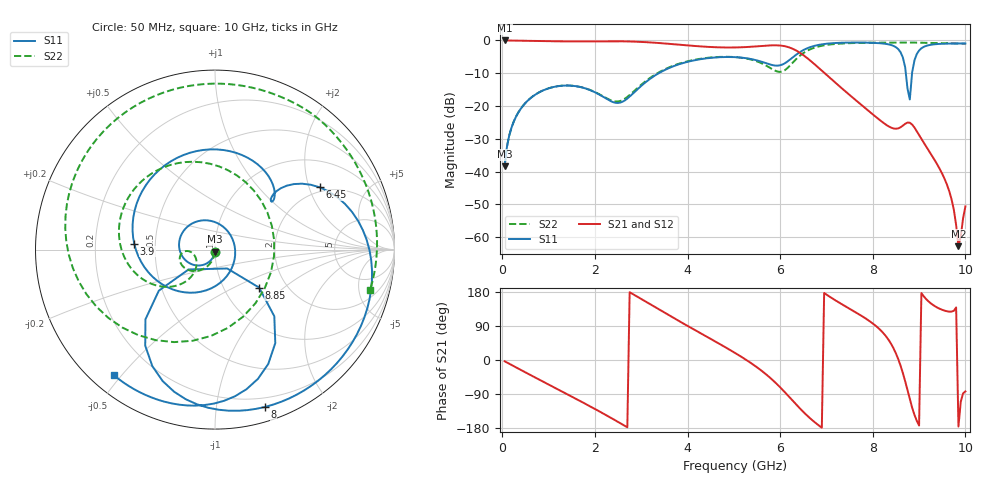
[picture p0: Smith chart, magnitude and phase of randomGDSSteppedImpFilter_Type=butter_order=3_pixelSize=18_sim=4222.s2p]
! freq	dB(S11)	phase(S11)	dB(S12)	phase(S12)
!  dB(S21)	phase(S21)	dB(S22)	phase(S22)
!S-par simulation data
#  GHz  S  DB  R 50
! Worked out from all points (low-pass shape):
!   200 points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, 50 MHz to 10 GHz, reference 50 ohm
!   highest |S21| = -0.01 dB at 50 MHz (marker M1); lowest = -62.8 dB at 9.85 GHz (marker M2)
!   |S21| within 3 dB of the highest: start of sweep to 6.337 GHz
!   lowest |S11| = -38.4 dB at 50 MHz (marker M3), VSWR 1.02, Z = 49.9 - j1.2 ohm
!   |S11| at or under -10 dB: start of sweep to 3.378 GHz; 8.714 GHz to 8.849 GHz (135 MHz wide, 1.54 % of centre)
!   |S22| runs from -38.4 to -0.6 dB; largest |S21 - S12| = 0
!   S11 on the Smith chart (normalised r, x): 50 MHz: 1.00, -0.02; 3.9 GHz: 0.38, +0.03; 6.45 GHz: 1.84, +2.36; 8 GHz: 0.12, -1.36; 8.85 GHz: 1.46, -0.69; 10 GHz: 0.07, -0.48
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0.05  -38.42 -93.3  -0.01 -3.3  -0.01 -3.3  -38.40 -92.1
0.2  -26.55 -105.5  -0.03 -13.2  -0.03 -13.2  -26.54 -100.7
0.55  -18.36 -133.1  -0.11 -35.9  -0.11 -35.9  -18.34 -119.7
1.75  -14.45 126.4  -0.29 -112.7  -0.29 -112.7  -14.42 -172.6
2.6  -18.68 -15.4  -0.27 -170.5  -0.27 -170.5  -18.17 -146.2
3.4  -9.82 -136.3  -0.80 132.2  -0.80 132.2  -9.60 -141.2
3.9  -6.91 175.7  -1.40 96.9  -1.40 96.9  -6.74 -163.0
5.05  -5.12 81.4  -2.14 16.9  -2.14 16.9  -5.11 133.2
5.55  -6.28 48.4  -1.74 -23.8  -1.74 -23.8  -6.66 87.4
5.95  -7.69 41.0  -1.50 -65.9  -1.50 -65.9  -9.53 8.9
6.45  -3.36 30.7  -3.98 -130.8  -3.98 -130.8  -4.39 -123.2
6.7  -1.80 11.5  -6.74 -159.5  -6.74 -159.5  -2.41 -160.7
7.15  -0.82 -21.2  -12.37 160.7  -12.37 160.7  -1.12 154.7
8  -0.73 -72.4  -22.56 96.4  -22.56 96.4  -0.69 99.2
8.35  -1.23 -96.6  -26.28 51.6  -26.28 51.6  -0.67 79.5
8.65  -5.21 -134.9  -25.99 -34.4  -25.99 -34.4  -0.65 62.9
8.8  -18.02 -57.0  -25.12 -103.6  -25.12 -103.6  -0.63 54.3
8.85  -9.77 -40.7  -25.67 -125.7  -25.67 -125.7  -0.64 51.4
9.1  -1.97 -77.3  -31.18 168.2  -31.18 168.2  -0.71 37.2
9.6  -0.96 -110.9  -43.94 128.6  -43.94 128.6  -0.84 8.7
9.85  -0.92 -122.4  -62.78 -175.6  -62.78 -175.6  -0.93 -5.8
10  -0.93 -128.8  -50.64 -82.9  -50.64 -82.9  -0.99 -14.6
